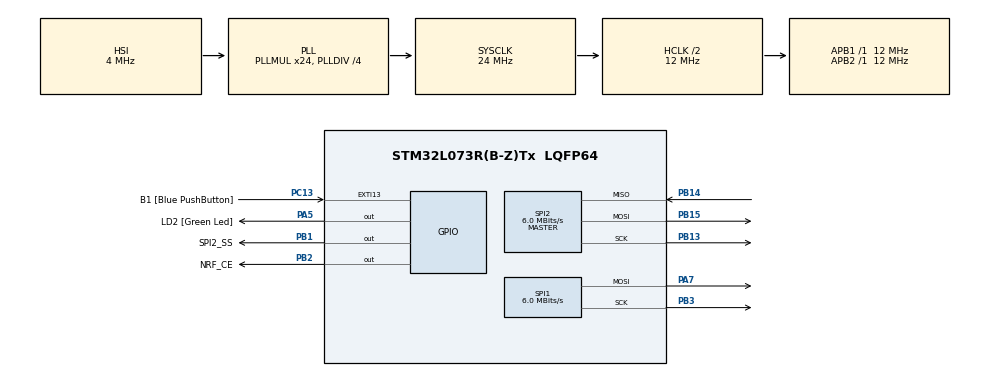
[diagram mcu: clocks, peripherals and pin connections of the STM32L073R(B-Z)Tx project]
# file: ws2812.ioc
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Mcu.Family=STM32L0
Dma.SPI1_TX.0.MemInc=DMA_MINC_ENABLE
PH0-OSC_IN.Signal=RCC_OSC_IN
Dma.SPI1_TX.0.PeriphInc=DMA_PINC_DISABLE
SPI1.VirtualType=VM_MASTER
SPI2.VirtualType=VM_MASTER
PA14.GPIO_Label=TCK
PC13.GPIO_Label=B1 [Blue PushButton]
PB13.Signal=SPI2_SCK
PB15.Signal=SPI2_MOSI
RCC.SYSCLKSource=RCC_SYSCLKSOURCE_PLLCLK
ProjectManager.StackSize=0x800
RCC.PLLDIV=RCC_PLLDIV_4
SPI1.Direction=SPI_DIRECTION_2LINES
RCC.HCLKFreq_Value=12000000
RCC.APB2TimFreq_Value=12000000
SPI1.CalculateBaudRate=6.0 MBits/s
RCC.AHBFreq_Value=12000000
PH0-OSC_IN.GPIO_Label=MCO
RCC.HSE_VALUE=8000000
PB2.Signal=GPIO_Output
PB3.Mode=TX_Only_Simplex_Unidirect_Master
RCC.PLLMUL=RCC_PLLMUL_24
PA14.Mode=Serial_Wire
PB14.Mode=Full_Duplex_Master
PB1.GPIO_Label=SPI2_SS
PC13.GPIO_PuPd=GPIO_PULLUP
SPI2.CalculateBaudRate=6.0 MBits/s
Dma.SPI1_TX.0.Mode=DMA_NORMAL
Mcu.Package=LQFP64
PB1.Signal=GPIO_Output
SPI2.Mode=SPI_MODE_MASTER
PA2.GPIO_Label=USART_TX
RCC.APB1TimFreq_Value=12000000
SPI2.Direction=SPI_DIRECTION_2LINES
PB13.Mode=Full_Duplex_Master
Dma.Request0=SPI1_TX
NVIC.EXTI4_15_IRQn=true\:0\:0\:false\:false\:true\:true\:true
RCC.HSI48_VALUE=48000000
PA3.Signal=USART2_RX
RCC.MSI_VALUE=2097000
PA7.Mode=TX_Only_Simplex_Unidirect_Master
PC13.Signal=GPXTI13
SPI1.CLKPhase=SPI_PHASE_2EDGE
PC14-OSC32_IN.Signal=RCC_OSC32_IN
PA13.Signal=SYS_SWDIO
RCC.HSI16_VALUE=16000000
ProjectManager.TargetToolchain=STM32CubeIDE
Dma.SPI1_TX.0.PeriphDataAlignment=DMA_PDATAALIGN_BYTE
Dma.SPI1_TX.0.Direction=DMA_MEMORY_TO_PERIPH
RCC.LSE_VALUE=32768
PC15-OSC32_OUT.Signal=RCC_OSC32_OUT
PA7.GPIO_PuPd=GPIO_NOPULL
PB14.Signal=SPI2_MISO
PA5.Signal=GPIO_Output
board=NUCLEO-L073RZ
RCC.VCOOutputFreq_Value=96000000
PB15.Mode=Full_Duplex_Master
RCC.LSEState=RCC_LSE_ON
NVIC.SPI1_IRQn=true\:0\:0\:false\:false\:true\:true\:true
RCC.HSIRCDiv=4
RCC.APB2Freq_Value=12000000
SPI1.Mode=SPI_MODE_MASTER
RCC.ADCFreq_Value=4000000
Dma.SPI1_TX.0.Instance=DMA1_Channel3
RCC.AHBCLKDivider=RCC_SYSCLK_DIV2
PA13.Mode=Serial_Wire
Mcu.Name=STM32L073R(B-Z)Tx
PA13.GPIO_Label=TMS
PA2.Signal=USART2_TX
PB3.Signal=SPI1_SCK
RCC.SYSCLKFreq_VALUE=24000000
PA5.GPIO_Label=LD2 [Green Led]
PC13.GPIO_ModeDefaultEXTI=GPIO_MODE_IT_FALLING
SPI2.FirstBit=SPI_FIRSTBIT_MSB
PA14.Signal=SYS_SWCLK
PB2.GPIO_Label=NRF_CE
ProjectManager.HeapSize=0x400
Dma.SPI1_TX.0.MemDataAlignment=DMA_MDATAALIGN_BYTE
Dma.SPI1_TX.0.Priority=DMA_PRIORITY_LOW
RCC.HSI_VALUE=4000000
NVIC.DMA1_Channel2_3_IRQn=true\:0\:0\:false\:false\:true\:false\:true
RCC.APB1Freq_Value=12000000
PA3.GPIO_Label=USART_RX
PA7.Signal=SPI1_MOSI

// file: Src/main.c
/* USER CODE BEGIN Header */
/**
  ******************************************************************************
  * @file           : main.c
  * @brief          : Main program body
  ******************************************************************************
  * @attention
  *
  * <h2><center>&copy; Copyright (c) 2021 STMicroelectronics.
  * All rights reserved.</center></h2>
  *
  * This software component is licensed by ST under BSD 3-Clause license,
  * the "License"; You may not use this file except in compliance with the
  * License. You may obtain a copy of the License at:
  *                        opensource.org/licenses/BSD-3-Clause
  *
  ******************************************************************************
  */
/* USER CODE END Header */
#include "main.h"
#include "dma.h"
#include "spi.h"
#include "gpio.h"

/* USER CODE BEGIN Includes */
#include "ws2812.h"
#include "led_animation.h"
#include "nrf24l01.h"
#include "nb_delay.h"
/* USER CODE END Includes */

void SystemClock_Config(void);
/* USER CODE BEGIN PFP */
void stm_sleep()
{
	HAL_PWR_EnterSLEEPMode(PWR_REGULATOR_VOLTAGE_SCALE1, PWR_SLEEPENTRY_WFI);
}
/* USER CODE END PFP */

int main(void)
{

  /* MCU Configuration--------------------------------------------------------*/

  /* Reset of all peripherals, Initializes the Flash interface and the Systick. */
  HAL_Init();

  /* Configure the system clock */
  SystemClock_Config();

  /* Initialize all configured peripherals */
  MX_GPIO_Init();
  MX_DMA_Init();
  MX_SPI1_Init();
  MX_SPI2_Init();
  /* USER CODE BEGIN 2 */

  nrf_init_multicast(&hspi2);
  ws2812_init(8, &hspi1);

  struct ws2812_color color = {
		  .red = 10,
		  .green = 0,
		  .blue = 0,
  };

  ws2812_set_color_all(&color);

  nb_delay button_delay = nb_delay_create(7000, NULL);
  nb_delay ws_2812_transmit_delay = nb_delay_create(50, ws2812_transmit);
  nb_delay nrf_receive_delay = nb_delay_create(100, NULL);

  animation power_up_animation1 = animation_create(0, 8, 200, ws2812_on);
  animation_add_step(&power_up_animation1, 0, 1, 1000, animation_nop);
  animation_add_step(&power_up_animation1, 0, 8, 0, ws2812_off);

//  animation power_up_animation2 = animation_create(15, 7, 200, ws2812_nop);
//  animation_add_step(&power_up_animation2, 0, 1, 2000, animation_nop);
//  animation_add_step(&power_up_animation2, 15, 7, 0, ws2812_off);

  animation power_down_animation1 = animation_create(0, 8, 0, ws2812_on);
    animation_add_step(&power_down_animation1, 0, 1, 400, animation_nop);
  animation_add_step(&power_down_animation1, 7, -1, 200, ws2812_off);

//  animation power_down_animation2 = animation_create(8, 16, 0, ws2812_on);
//  animation_add_step(&power_down_animation2, 8, 16, 200, ws2812_off);

  animation main_animation = animation_create(0, 8, 200, ws2812_on);
  animation_add_step(&main_animation, 0, 1, 1000, animation_nop);
  animation_add_step(&main_animation, 8, -1, 100, ws2812_off);

  enum power_state {
	  stm_to_sleep,
	  stm_to_running,
	  stm_sleeping,
	  stm_running,
  };

  enum button_state {
	  pressed,
	  holding,
	  released,
  };

  static uint8_t current_power_state = stm_sleeping;
  static uint8_t button_state = released;

  /* USER CODE END 2 */

  /* Infinite loop */
  /* USER CODE BEGIN WHILE */
  while (1)
  {

	  if (HAL_GPIO_ReadPin(B1_GPIO_Port, B1_Pin)){
		  button_state = released;
	  } else {
		  if (button_state == pressed)
			  button_state = holding;
		  else if (button_state == released)
			  button_state = pressed;
	  }

	  if (nb_delay_check(button_delay)) {
		  switch (current_power_state) {
			case stm_sleeping:
				current_power_state = stm_to_running;
				animation_start(&power_up_animation1);
				break;
			case stm_running:
				current_power_state = stm_to_sleep;
				animation_start(&power_down_animation1);
				nrf_standby();
				nrf_power_down();
				break;
		}
	  }

	  if (current_power_state == stm_to_running) {
		  if (animation_ended(power_up_animation1)) {
	  		  current_power_state = stm_running;
	  		  nrf_power_up();
	  		  nrf_send_command(FLUSH_RX);
	  		  nrf_send_command(FLUSH_TX);
	  		  nrf_rx_mode();
	  	  }
	  }

	  if (current_power_state == stm_to_sleep) {
		  if (animation_ended(power_down_animation1)) {
	  		  current_power_state = stm_sleeping;
	  	  }
	  }

	  if (current_power_state == stm_running) {
		  if (button_state == pressed && animation_ended(main_animation)){
			  	static uint8_t data = 'A';
			  	nrf_write_payload(&data, 1);
			  	nrf_tx_mode();
			  	while(!nrf_payload_transmitted() || !nrf_tx_fifo_empty());
			  	animation_start(&main_animation);
			  	nrf_rx_mode();
		  }
	  	  if (nb_delay_check(nrf_receive_delay)){
	  		  if (nrf_payload_received()) {
	  			  while (!nrf_rx_fifo_empty()) {
	  				  static uint8_t data = 0;
	  				  nrf_read_payload(&data, 1);
	  				  if (data == 'A'){
	  					  LD2_GPIO_Port-> ODR ^= LD2_Pin;
	  					  animation_start(&main_animation);
	  				  }
	  			  }
	  		  }
	  	  }
	  }

	  if (button_state == released){
		  nb_delay_restart(button_delay);
	  	  if (current_power_state == stm_sleeping)
	  		  stm_sleep();
	  }

	  animation_animate(&main_animation);
	  animation_animate(&power_down_animation1);
	  animation_animate(&power_up_animation1);

	  nb_delay_check(ws_2812_transmit_delay);
    /* USER CODE END WHILE */

  }
}

void SystemClock_Config(void)
{
  RCC_OscInitTypeDef RCC_OscInitStruct = {0};
  RCC_ClkInitTypeDef RCC_ClkInitStruct = {0};

  /** Configure the main internal regulator output voltage
  */
  __HAL_PWR_VOLTAGESCALING_CONFIG(PWR_REGULATOR_VOLTAGE_SCALE1);
  /** Initializes the RCC Oscillators according to the specified parameters
  * in the RCC_OscInitTypeDef structure.
  */
  RCC_OscInitStruct.OscillatorType = RCC_OSCILLATORTYPE_HSI;
  RCC_OscInitStruct.HSIState = RCC_HSI_DIV4;
  RCC_OscInitStruct.HSICalibrationValue = RCC_HSICALIBRATION_DEFAULT;
  RCC_OscInitStruct.PLL.PLLState = RCC_PLL_ON;
  RCC_OscInitStruct.PLL.PLLSource = RCC_PLLSOURCE_HSI;
  RCC_OscInitStruct.PLL.PLLMUL = RCC_PLLMUL_24;
  RCC_OscInitStruct.PLL.PLLDIV = RCC_PLLDIV_4;
  if (HAL_RCC_OscConfig(&RCC_OscInitStruct) != HAL_OK)
  {
    Error_Handler();
  }
  /** Initializes the CPU, AHB and APB buses clocks
  */
  RCC_ClkInitStruct.ClockType = RCC_CLOCKTYPE_HCLK|RCC_CLOCKTYPE_SYSCLK
                              |RCC_CLOCKTYPE_PCLK1|RCC_CLOCKTYPE_PCLK2;
  RCC_ClkInitStruct.SYSCLKSource = RCC_SYSCLKSOURCE_PLLCLK;
  RCC_ClkInitStruct.AHBCLKDivider = RCC_SYSCLK_DIV2;
  RCC_ClkInitStruct.APB1CLKDivider = RCC_HCLK_DIV1;
  RCC_ClkInitStruct.APB2CLKDivider = RCC_HCLK_DIV1;

  if (HAL_RCC_ClockConfig(&RCC_ClkInitStruct, FLASH_LATENCY_0) != HAL_OK)
  {
    Error_Handler();
  }
}

void Error_Handler(void)
{
  __disable_irq();
  while (1)
  {
  }
}

/************************ (C) COPYRIGHT STMicroelectronics *****END OF FILE****/
